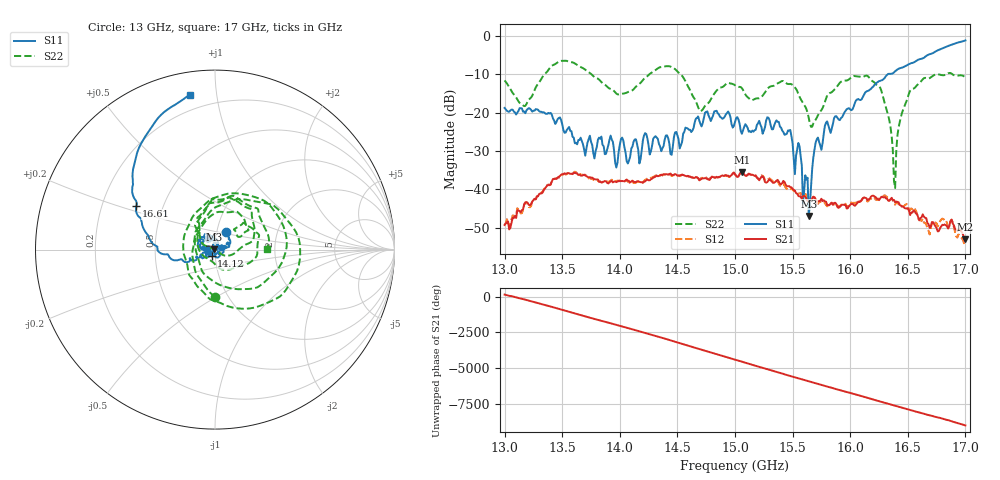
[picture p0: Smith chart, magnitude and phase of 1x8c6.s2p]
!Keysight Technologies,P9374A,MY57211807,A.19.30.04
!Date: Friday, May 08, 2026 15:06:41
!Correction: S11(C  2-Port  )
!S21(C  2-Port  )
!S12(C  2-Port  )
!S22(C  2-Port  )
!S2P File: Measurements: S11, S21, S12, S22:
# Hz S  dB  R 50
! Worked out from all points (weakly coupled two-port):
!   401 points, 13 GHz to 17 GHz, reference 50 ohm
!   highest |S21| = -35.50 dB at 15.06 GHz (marker M1); lowest = -53.0 dB at 17 GHz (marker M2)
!   lowest |S11| = -47.0 dB at 15.64 GHz (marker M3), VSWR 1.01, Z = 49.6 + j0.218 ohm
!   |S11| at or under -10 dB: start of sweep to 16.33 GHz
!   |S22| runs from -39.7 to -6.4 dB; largest |S21 - S12| = 0.0014
!   S11 on the Smith chart (normalised r, x): 13 GHz: 1.11, +0.22; 14.12 GHz: 0.96, -0.07; 16.61 GHz: 0.35, +0.23; 17 GHz: 0.12, +0.85
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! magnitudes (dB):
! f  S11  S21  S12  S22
! 13 GHz  -18.8  -49.3  -49.3  -11.6
! 13.17 GHz  -19.7  -43.9  -44.0  -18.3
! 13.42 GHz  -21.5  -37.3  -37.4  -7.6
! 13.67 GHz  -27.4  -36.5  -36.2  -8.2
! 13.97 GHz  -34.3  -38.1  -38.0  -15.0
! 14.12 GHz  -27.5  -38.1  -38.4  -13.9
! 14.34 GHz  -28.2  -36.5  -36.3  -8.3
! 14.7 GHz  -23.0  -37.5  -37.2  -19.6
! 15 GHz  -22.4  -36.1  -36.2  -12.8
! 15.06 GHz  -25.5  -35.5  -35.4  -13.6
! 15.47 GHz  -24.7  -39.2  -39.9  -12.6
! 15.64 GHz  -47.0  -43.1  -42.2  -21.4
! 15.67 GHz  -34.7  -42.6  -42.2  -23.7
! 15.7 GHz  -27.8  -42.6  -42.8  -21.9
! 15.79 GHz  -22.7  -43.2  -44.1  -16.3
! 16.04 GHz  -17.6  -44.3  -43.6  -10.5
! 16.25 GHz  -11.8  -42.9  -42.3  -13.1
! 16.34 GHz  -9.9  -43.0  -43.0  -22.1
! 16.39 GHz  -9.2  -43.4  -44.0  -39.7
! 16.45 GHz  -8.3  -44.5  -44.5  -20.0
! 16.61 GHz  -6.0  -47.6  -48.1  -12.0
! 17 GHz  -1.2  -53.0  -54.9  -10.8
